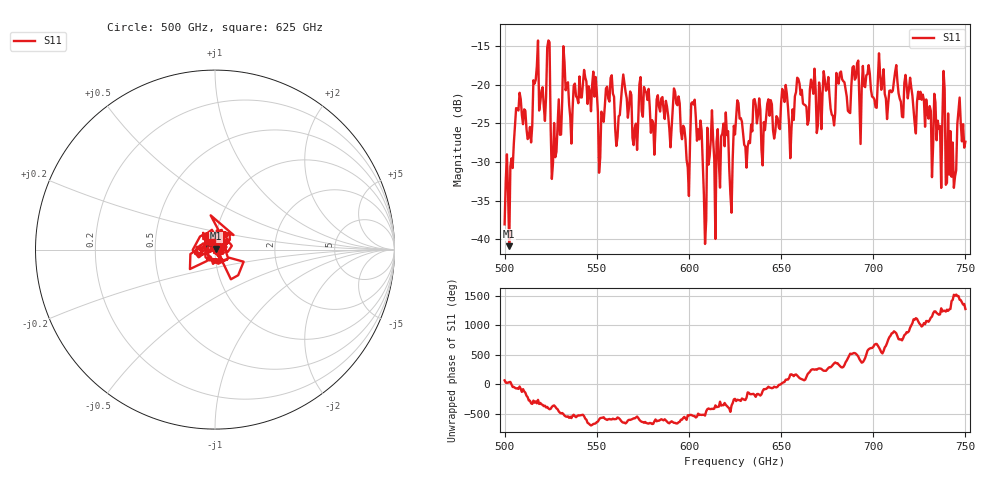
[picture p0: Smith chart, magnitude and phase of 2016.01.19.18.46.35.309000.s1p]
!Created with skrf (http://scikit-rf.org).
# GHz S RI R 50.0
!freq ReS11 ImS11
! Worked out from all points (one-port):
!   401 points, 500 GHz to 750 GHz, reference 50 ohm
!   lowest |S11| = -40.9 dB at 502.5 GHz (marker M1), VSWR 1.02, Z = 50.7 + j0.548 ohm
!   |S11| at or under -10 dB: start of sweep to end of sweep
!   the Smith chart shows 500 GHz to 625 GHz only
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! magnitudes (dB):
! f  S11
! 500 GHz  -38.1
! 502.5 GHz  -40.9
! 507.5 GHz  -23.4
! 513.8 GHz  -25.5
! 516.9 GHz  -19.4
! 520.6 GHz  -20.4
! 523.8 GHz  -14.3
! 526.9 GHz  -25.0
! 531.2 GHz  -22.2
! 562.5 GHz  -24.0
! 593.8 GHz  -22.7
! 599.4 GHz  -30.7
! 602.5 GHz  -22.6
! 608.1 GHz  -34.3
! 611.2 GHz  -29.3
! 615.6 GHz  -25.8
! 620 GHz  -23.6
! 622.5 GHz  -34.2
! 625 GHz  -26.5
! 631.9 GHz  -28.0
! 651.9 GHz  -22.3
! 656.2 GHz  -23.2
! 658.8 GHz  -19.1
! 687.5 GHz  -23.7
! 718.8 GHz  -21.8
! 743.8 GHz  -33.4
! 746.9 GHz  -21.7
! 750 GHz  -27.4
